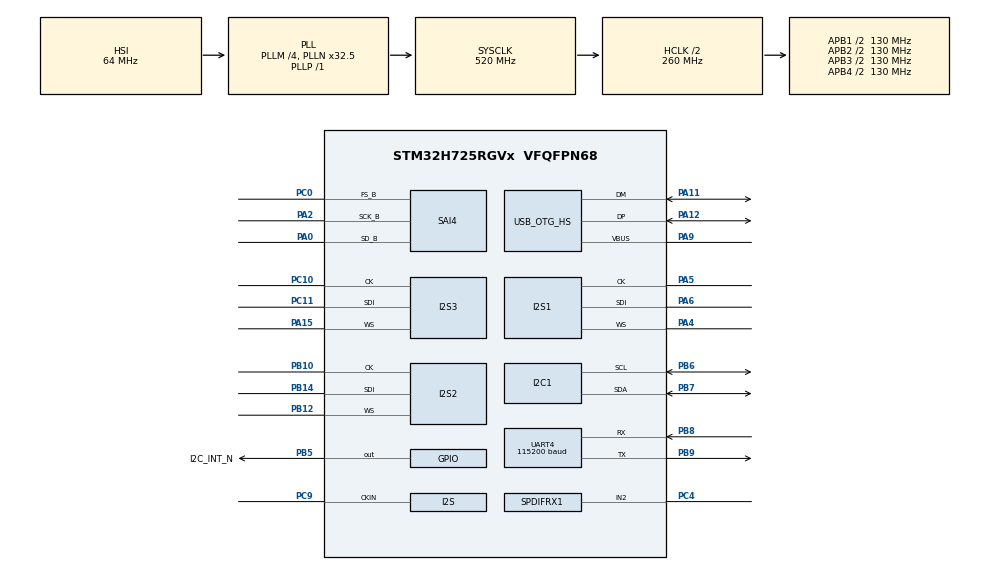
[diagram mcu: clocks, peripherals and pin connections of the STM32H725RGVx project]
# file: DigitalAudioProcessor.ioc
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Bdma.Request0=SAI4_B
Bdma.RequestsNb=1
Bdma.SAI4_B.0.Direction=DMA_MEMORY_TO_PERIPH
Bdma.SAI4_B.0.EventEnable=DISABLE
Bdma.SAI4_B.0.Instance=BDMA_Channel0
Bdma.SAI4_B.0.MemDataAlignment=DMA_MDATAALIGN_WORD
Bdma.SAI4_B.0.MemInc=DMA_MINC_ENABLE
Bdma.SAI4_B.0.Mode=DMA_CIRCULAR
Bdma.SAI4_B.0.PeriphDataAlignment=DMA_PDATAALIGN_WORD
Bdma.SAI4_B.0.PeriphInc=DMA_PINC_DISABLE
Bdma.SAI4_B.0.Polarity=HAL_DMAMUX_REQ_GEN_RISING
Bdma.SAI4_B.0.Priority=DMA_PRIORITY_MEDIUM
Bdma.SAI4_B.0.RequestNumber=1
Bdma.SAI4_B.0.SignalID=NONE
Bdma.SAI4_B.0.SyncEnable=DISABLE
Bdma.SAI4_B.0.SyncPolarity=HAL_DMAMUX_SYNC_NO_EVENT
Bdma.SAI4_B.0.SyncRequestNumber=1
Bdma.SAI4_B.0.SyncSignalID=NONE
CORTEX_M7.AccessPermission-Cortex_Memory_Protection_Unit_Region0_Settings=MPU_REGION_FULL_ACCESS
CORTEX_M7.AccessPermission-Cortex_Memory_Protection_Unit_Region1_Settings=MPU_REGION_FULL_ACCESS
CORTEX_M7.AccessPermission-Cortex_Memory_Protection_Unit_Region2_Settings=MPU_REGION_PRIV_RO_URO
CORTEX_M7.AccessPermission-Cortex_Memory_Protection_Unit_Region4_Settings=MPU_REGION_FULL_ACCESS
CORTEX_M7.AccessPermission_S-Cortex_Memory_Protection_Unit_Region1_Settings_S=MPU_REGION_FULL_ACCESS
CORTEX_M7.AccessPermission_S-Cortex_Memory_Protection_Unit_Region2_Settings_S=MPU_REGION_PRIV_RO_URO
CORTEX_M7.AccessPermission_Spec=MPU_REGION_FULL_ACCESS
CORTEX_M7.BaseAddress-Cortex_Memory_Protection_Unit_Region2_Settings=0x0
CORTEX_M7.BaseAddress-Cortex_Memory_Protection_Unit_Region3_Settings=0x0
CORTEX_M7.BaseAddress-Cortex_Memory_Protection_Unit_Region4_Settings=0x40000000
CORTEX_M7.CPU_DCache=Disabled
CORTEX_M7.CPU_ICache=Enabled
CORTEX_M7.DisableExec-Cortex_Memory_Protection_Unit_Region2_Settings=MPU_INSTRUCTION_ACCESS_ENABLE
CORTEX_M7.DisableExec-Cortex_Memory_Protection_Unit_Region3_Settings=MPU_INSTRUCTION_ACCESS_DISABLE
CORTEX_M7.DisableExec-Cortex_Memory_Protection_Unit_Region4_Settings=MPU_INSTRUCTION_ACCESS_DISABLE
CORTEX_M7.DisableExec_S-Cortex_Memory_Protection_Unit_Region3_Settings_S=MPU_INSTRUCTION_ACCESS_DISABLE
CORTEX_M7.DisableExec_Spec=MPU_INSTRUCTION_ACCESS_ENABLE
CORTEX_M7.Enable-Cortex_Memory_Protection_Unit_Region0_Settings=MPU_REGION_ENABLE
CORTEX_M7.Enable-Cortex_Memory_Protection_Unit_Region1_Settings=MPU_REGION_ENABLE
CORTEX_M7.Enable-Cortex_Memory_Protection_Unit_Region2_Settings=MPU_REGION_ENABLE
CORTEX_M7.Enable-Cortex_Memory_Protection_Unit_Region3_Settings=MPU_REGION_ENABLE
CORTEX_M7.Enable-Cortex_Memory_Protection_Unit_Region4_Settings=MPU_REGION_ENABLE
CORTEX_M7.Enable_S-Cortex_Memory_Protection_Unit_Region1_Settings_S=MPU_REGION_ENABLE
CORTEX_M7.Enable_S-Cortex_Memory_Protection_Unit_Region2_Settings_S=MPU_REGION_ENABLE
CORTEX_M7.Enable_S-Cortex_Memory_Protection_Unit_Region3_Settings_S=MPU_REGION_ENABLE
CORTEX_M7.IsCacheable-Cortex_Memory_Protection_Unit_Region1_Settings=MPU_ACCESS_CACHEABLE
CORTEX_M7.IsCacheable-Cortex_Memory_Protection_Unit_Region2_Settings=MPU_ACCESS_CACHEABLE
CORTEX_M7.IsCacheable_S-Cortex_Memory_Protection_Unit_Region1_Settings_S=MPU_ACCESS_CACHEABLE
CORTEX_M7.IsCacheable_S-Cortex_Memory_Protection_Unit_Region2_Settings_S=MPU_ACCESS_CACHEABLE
CORTEX_M7.IsShareable_Spec=MPU_ACCESS_NOT_SHAREABLE
CORTEX_M7.MPU_Control=MPU_PRIVILEGED_DEFAULT
CORTEX_M7.Size-Cortex_Memory_Protection_Unit_Region0_Settings=MPU_REGION_SIZE_4GB
CORTEX_M7.Size-Cortex_Memory_Protection_Unit_Region1_Settings=MPU_REGION_SIZE_512MB
CORTEX_M7.Size-Cortex_Memory_Protection_Unit_Region2_Settings=MPU_REGION_SIZE_64KB
CORTEX_M7.Size-Cortex_Memory_Protection_Unit_Region3_Settings=MPU_REGION_SIZE_4KB
CORTEX_M7.Size-Cortex_Memory_Protection_Unit_Region4_Settings=MPU_REGION_SIZE_512MB
CORTEX_M7.Size_S-Cortex_Memory_Protection_Unit_Region1_Settings_S=MPU_REGION_SIZE_512MB
CORTEX_M7.Size_S-Cortex_Memory_Protection_Unit_Region2_Settings_S=MPU_REGION_SIZE_64KB
CORTEX_M7.Size_S-Cortex_Memory_Protection_Unit_Region3_Settings_S=MPU_REGION_SIZE_4KB
CORTEX_M7.SubRegionDisable_Spec=0x0
CORTEX_M7.TypeExtField-Cortex_Memory_Protection_Unit_Region0_Settings=MPU_TEX_LEVEL1
CORTEX_M7.TypeExtField-Cortex_Memory_Protection_Unit_Region2_Settings=MPU_TEX_LEVEL0
CORTEX_M7.TypeExtField-Cortex_Memory_Protection_Unit_Region4_Settings=MPU_TEX_LEVEL2
CORTEX_M7.TypeExtField_Spec=MPU_TEX_LEVEL1
CORTEX_M7.default_mode_Activation=0
Dma.Request0=SPI1_RX
Dma.Request1=SPI2_RX
Dma.Request2=SPI3_RX
Dma.Request3=SPDIF_RX_CS
Dma.Request4=SPDIF_RX_DT
Dma.SPDIF_RX_CS.3.Direction=DMA_PERIPH_TO_MEMORY
Dma.SPDIF_RX_CS.3.EventEnable=DISABLE
Dma.SPDIF_RX_CS.3.FIFOMode=DMA_FIFOMODE_DISABLE
Dma.SPDIF_RX_CS.3.Instance=DMA1_Stream3
Dma.SPDIF_RX_CS.3.MemDataAlignment=DMA_MDATAALIGN_WORD
Dma.SPDIF_RX_CS.3.MemInc=DMA_MINC_ENABLE
Dma.SPDIF_RX_CS.3.Mode=DMA_CIRCULAR
Dma.SPDIF_RX_CS.3.PeriphDataAlignment=DMA_PDATAALIGN_WORD
Dma.SPDIF_RX_CS.3.PeriphInc=DMA_PINC_DISABLE
Dma.SPDIF_RX_CS.3.Polarity=HAL_DMAMUX_REQ_GEN_RISING
Dma.SPDIF_RX_CS.3.Priority=DMA_PRIORITY_LOW
Dma.SPDIF_RX_CS.3.RequestNumber=1
Dma.SPDIF_RX_CS.3.SignalID=NONE
Dma.SPDIF_RX_CS.3.SyncEnable=DISABLE
Dma.SPDIF_RX_CS.3.SyncPolarity=HAL_DMAMUX_SYNC_NO_EVENT
Dma.SPDIF_RX_CS.3.SyncRequestNumber=1
Dma.SPDIF_RX_CS.3.SyncSignalID=NONE
Dma.SPDIF_RX_DT.4.Direction=DMA_PERIPH_TO_MEMORY
Dma.SPDIF_RX_DT.4.EventEnable=DISABLE
Dma.SPDIF_RX_DT.4.FIFOMode=DMA_FIFOMODE_DISABLE
Dma.SPDIF_RX_DT.4.Instance=DMA1_Stream4
Dma.SPDIF_RX_DT.4.MemDataAlignment=DMA_MDATAALIGN_WORD
Dma.SPDIF_RX_DT.4.MemInc=DMA_MINC_ENABLE
Dma.SPDIF_RX_DT.4.Mode=DMA_CIRCULAR
Dma.SPDIF_RX_DT.4.PeriphDataAlignment=DMA_PDATAALIGN_WORD
Dma.SPDIF_RX_DT.4.PeriphInc=DMA_PINC_DISABLE
Dma.SPDIF_RX_DT.4.Polarity=HAL_DMAMUX_REQ_GEN_RISING
Dma.SPDIF_RX_DT.4.Priority=DMA_PRIORITY_LOW
Dma.SPDIF_RX_DT.4.RequestNumber=1
Dma.SPDIF_RX_DT.4.SignalID=NONE
Dma.SPDIF_RX_DT.4.SyncEnable=DISABLE
Dma.SPDIF_RX_DT.4.SyncPolarity=HAL_DMAMUX_SYNC_NO_EVENT
Dma.SPDIF_RX_DT.4.SyncRequestNumber=1
Dma.SPDIF_RX_DT.4.SyncSignalID=NONE
Dma.SPI1_RX.0.Direction=DMA_PERIPH_TO_MEMORY
Dma.SPI1_RX.0.EventEnable=DISABLE
Dma.SPI1_RX.0.FIFOMode=DMA_FIFOMODE_DISABLE
Dma.SPI1_RX.0.Instance=DMA1_Stream0
Dma.SPI1_RX.0.MemDataAlignment=DMA_MDATAALIGN_WORD
Dma.SPI1_RX.0.MemInc=DMA_MINC_ENABLE
Dma.SPI1_RX.0.Mode=DMA_CIRCULAR
Dma.SPI1_RX.0.PeriphDataAlignment=DMA_PDATAALIGN_WORD
Dma.SPI1_RX.0.PeriphInc=DMA_PINC_DISABLE
Dma.SPI1_RX.0.Polarity=HAL_DMAMUX_REQ_GEN_RISING
Dma.SPI1_RX.0.Priority=DMA_PRIORITY_LOW
Dma.SPI1_RX.0.RequestNumber=1
Dma.SPI1_RX.0.SignalID=NONE
Dma.SPI1_RX.0.SyncEnable=DISABLE
Dma.SPI1_RX.0.SyncPolarity=HAL_DMAMUX_SYNC_NO_EVENT
Dma.SPI1_RX.0.SyncRequestNumber=1
Dma.SPI1_RX.0.SyncSignalID=NONE
Dma.SPI2_RX.1.Direction=DMA_PERIPH_TO_MEMORY
Dma.SPI2_RX.1.EventEnable=DISABLE
Dma.SPI2_RX.1.FIFOMode=DMA_FIFOMODE_DISABLE
Dma.SPI2_RX.1.Instance=DMA1_Stream1
Dma.SPI2_RX.1.MemDataAlignment=DMA_MDATAALIGN_WORD
Dma.SPI2_RX.1.MemInc=DMA_MINC_ENABLE
Dma.SPI2_RX.1.Mode=DMA_CIRCULAR
Dma.SPI2_RX.1.PeriphDataAlignment=DMA_PDATAALIGN_WORD
Dma.SPI2_RX.1.PeriphInc=DMA_PINC_DISABLE
Dma.SPI2_RX.1.Polarity=HAL_DMAMUX_REQ_GEN_RISING
Dma.SPI2_RX.1.Priority=DMA_PRIORITY_LOW
Dma.SPI2_RX.1.RequestNumber=1
Dma.SPI2_RX.1.SignalID=NONE
Dma.SPI2_RX.1.SyncEnable=DISABLE
Dma.SPI2_RX.1.SyncPolarity=HAL_DMAMUX_SYNC_NO_EVENT
Dma.SPI2_RX.1.SyncRequestNumber=1
Dma.SPI2_RX.1.SyncSignalID=NONE
Dma.SPI3_RX.2.Direction=DMA_PERIPH_TO_MEMORY
Dma.SPI3_RX.2.EventEnable=DISABLE
Dma.SPI3_RX.2.FIFOMode=DMA_FIFOMODE_DISABLE
Dma.SPI3_RX.2.Instance=DMA1_Stream2
Dma.SPI3_RX.2.MemDataAlignment=DMA_MDATAALIGN_WORD
Dma.SPI3_RX.2.MemInc=DMA_MINC_ENABLE
Dma.SPI3_RX.2.Mode=DMA_CIRCULAR
Dma.SPI3_RX.2.PeriphDataAlignment=DMA_PDATAALIGN_WORD
Dma.SPI3_RX.2.PeriphInc=DMA_PINC_DISABLE
Dma.SPI3_RX.2.Polarity=HAL_DMAMUX_REQ_GEN_RISING
Dma.SPI3_RX.2.Priority=DMA_PRIORITY_LOW
Dma.SPI3_RX.2.RequestNumber=1
Dma.SPI3_RX.2.SignalID=NONE
Dma.SPI3_RX.2.SyncEnable=DISABLE
Dma.SPI3_RX.2.SyncPolarity=HAL_DMAMUX_SYNC_NO_EVENT
Dma.SPI3_RX.2.SyncRequestNumber=1
Dma.SPI3_RX.2.SyncSignalID=NONE
I2C1.OwnAddress=0x4A
I2C1.Timing=0x0020212A
I2S1.AudioFreq=I2S_AUDIOFREQ_96K
I2S1.Data24BitAlignment=I2S_DATA_24BIT_ALIGNMENT_LEFT
I2S1.DataFormat=I2S_DATAFORMAT_32B
I2S1.ErrorAudioFreq=0.0 %
I2S1.Instance=SPI$Index
I2S1.RealAudioFreq=96.0 KHz
I2S2.AudioFreq=I2S_AUDIOFREQ_96K
I2S2.Data24BitAlignment=I2S_DATA_24BIT_ALIGNMENT_LEFT
I2S2.DataFormat=I2S_DATAFORMAT_32B
I2S2.ErrorAudioFreq=0.0 %
I2S2.Instance=SPI$Index
I2S2.RealAudioFreq=96.0 KHz
I2S3.AudioFreq=I2S_AUDIOFREQ_96K
I2S3.Data24BitAlignment=I2S_DATA_24BIT_ALIGNMENT_LEFT
I2S3.DataFormat=I2S_DATAFORMAT_32B
I2S3.ErrorAudioFreq=0.0 %
I2S3.Instance=SPI$Index
I2S3.RealAudioFreq=96.0 KHz
Mcu.Family=STM32H7
Mcu.Name=STM32H725RGVx
Mcu.Package=VFQFPN68
Mdma.MDMA_Channel0.Request0=SW
Mdma.MDMA_Channel0.RequestsNb=1
Mdma.MDMA_Channel0.SW.0.BlockCount=0
Mdma.MDMA_Channel0.SW.0.BlockDataLength=0
Mdma.MDMA_Channel0.SW.0.BufferTransferLength=4
Mdma.MDMA_Channel0.SW.0.CircularMode=MDMA_LINEAR_LIST
Mdma.MDMA_Channel0.SW.0.DataAlignment=MDMA_DATAALIGN_PACKENABLE
Mdma.MDMA_Channel0.SW.0.DestBlockAddressOffset=0
Mdma.MDMA_Channel0.SW.0.DestBurst=MDMA_DEST_BURST_SINGLE
Mdma.MDMA_Channel0.SW.0.DestDataSize=MDMA_DEST_DATASIZE_WORD
Mdma.MDMA_Channel0.SW.0.DestinationInc=MDMA_DEST_INC_WORD
Mdma.MDMA_Channel0.SW.0.DstAddress=0
Mdma.MDMA_Channel0.SW.0.Endianness=MDMA_LITTLE_ENDIANNESS_PRESERVE
Mdma.MDMA_Channel0.SW.0.Instance=MDMA_Channel0
Mdma.MDMA_Channel0.SW.0.MaskAddress=0
Mdma.MDMA_Channel0.SW.0.MaskData=0
Mdma.MDMA_Channel0.SW.0.Priority=MDMA_PRIORITY_LOW
Mdma.MDMA_Channel0.SW.0.Rank=First
Mdma.MDMA_Channel0.SW.0.SourceBlockAddressOffset=0
Mdma.MDMA_Channel0.SW.0.SourceBurst=MDMA_SOURCE_BURST_SINGLE
Mdma.MDMA_Channel0.SW.0.SourceDataSize=MDMA_SRC_DATASIZE_WORD
Mdma.MDMA_Channel0.SW.0.SourceInc=MDMA_SRC_INC_WORD
Mdma.MDMA_Channel0.SW.0.SrcAddress=0
Mdma.MDMA_Channel0.SW.0.TransferTriggerMode=MDMA_BLOCK_TRANSFER
Mdma.RequestSet0=MDMA_Channel0
Mdma.RequestSetsNb=1
NVIC.BDMA_Channel0_IRQn=true\:2\:0\:true\:false\:true\:false\:true\:true
NVIC.DMA1_Stream0_IRQn=true\:4\:0\:true\:false\:true\:false\:true\:true
NVIC.DMA1_Stream1_IRQn=true\:4\:0\:true\:false\:true\:false\:true\:true
NVIC.DMA1_Stream2_IRQn=true\:4\:0\:true\:false\:true\:false\:true\:true
NVIC.DMA1_Stream3_IRQn=true\:4\:0\:true\:false\:true\:false\:true\:true
NVIC.DMA1_Stream4_IRQn=true\:4\:0\:true\:false\:true\:false\:true\:true
NVIC.I2C1_ER_IRQn=true\:1\:0\:true\:false\:true\:true\:true\:true
NVIC.I2C1_EV_IRQn=true\:1\:0\:true\:false\:true\:true\:true\:true
NVIC.MDMA_IRQn=true\:3\:0\:true\:false\:true\:false\:true\:true
NVIC.OTG_HS_IRQn=true\:0\:0\:true\:false\:true\:false\:true\:true
NVIC.PriorityGroup=NVIC_PRIORITYGROUP_4
NVIC.SPDIF_RX_IRQn=true\:5\:0\:true\:false\:true\:true\:true\:true
NVIC.UART4_IRQn=true\:14\:0\:true\:false\:true\:true\:true\:true
PA0.GPIO_Speed=GPIO_SPEED_FREQ_HIGH
PA0.Mode=SAI_B_Master
PA0.Signal=SAI4_SD_B
PA11.Mode=Device_Only_FS
PA11.Signal=USB_OTG_HS_DM
PA12.Mode=Device_Only_FS
PA12.Signal=USB_OTG_HS_DP
PA13(JTMS/SWDIO).Mode=Serial_Wire
PA13(JTMS/SWDIO).Signal=DEBUG_JTMS-SWDIO
PA14(JTCK/SWCLK).Mode=Serial_Wire
PA14(JTCK/SWCLK).Signal=DEBUG_JTCK-SWCLK
PA15(JTDI).Mode=Half_Duplex_Slave_Rx
PA15(JTDI).Signal=I2S3_WS
PA2.GPIO_Speed=GPIO_SPEED_FREQ_HIGH
PA2.Mode=SAI_B_Master
PA2.Signal=SAI4_SCK_B
PA4.Mode=Half_Duplex_Slave_Rx
PA4.Signal=I2S1_WS
PA5.Mode=Half_Duplex_Slave_Rx
PA5.Signal=I2S1_CK
PA6.Mode=Half_Duplex_Slave_Rx
PA6.Signal=I2S1_SDI
PA9.GPIO_PuPd=GPIO_PULLDOWN
PA9.Mode=Activate_VBUS_FS
PA9.Signal=USB_OTG_HS_VBUS
PB10.Mode=Half_Duplex_Slave_Rx
PB10.Signal=I2S2_CK
PB12.Mode=Half_Duplex_Slave_Rx
PB12.Signal=I2S2_WS
PB14.Mode=Half_Duplex_Slave_Rx
PB14.Signal=I2S2_SDI
PB5.GPIO_Label=I2C_INT_N
PB5.GPIO_ModeDefaultOutputPP=GPIO_MODE_OUTPUT_OD
PB5.GPIO_PuPd=GPIO_NOPULL
PB5.GPIO_Speed=GPIO_SPEED_FREQ_LOW
PB5.PinState=GPIO_PIN_SET
PB5.Signal=GPIO_Output
PB6.GPIO_Pu=GPIO_PULLUP
PB6.Mode=I2C
PB6.Signal=I2C1_SCL
PB7.GPIO_Pu=GPIO_PULLUP
PB7.Mode=I2C
PB7.Signal=I2C1_SDA
PB8.Mode=Asynchronous
PB8.Signal=UART4_RX
PB9.Mode=Asynchronous
PB9.Signal=UART4_TX
PC0.GPIO_Speed=GPIO_SPEED_FREQ_HIGH
PC0.Mode=SAI_B_Master
PC0.Signal=SAI4_FS_B
PC10.Mode=Half_Duplex_Slave_Rx
PC10.Signal=I2S3_CK
PC11.Mode=Half_Duplex_Slave_Rx
PC11.Signal=I2S3_SDI
PC4.Mode=IN2
PC4.Signal=SPDIFRX1_IN2
PC9.Mode=Audio_ClockIn
PC9.Signal=I2S_CKIN
ProjectManager.HeapSize=0x2000
ProjectManager.StackSize=0x2000
ProjectManager.TargetToolchain=STM32CubeIDE
RAMECC.Instance-RAMECC1_Monitor1=RAMECC1_Monitor1
RAMECC.Instance-RAMECC1_Monitor2=RAMECC1_Monitor2
RAMECC.Instance-RAMECC1_Monitor3=RAMECC1_Monitor3
RAMECC.Instance-RAMECC1_Monitor4=RAMECC1_Monitor4
RAMECC.Instance-RAMECC1_Monitor6=RAMECC1_Monitor6
RAMECC.Instance-RAMECC2_Monitor1=RAMECC2_Monitor1
RAMECC.Instance-RAMECC2_Monitor2_1=RAMECC2_Monitor2
RAMECC.Instance-RAMECC3_Monitor1=RAMECC3_Monitor1
RCC.ADCFreq_Value=240000000
RCC.APB1Freq_Value=130000000
RCC.APB2Freq_Value=130000000
RCC.APB3Freq_Value=130000000
RCC.APB4Freq_Value=130000000
RCC.CortexFreq_Value=520000000
RCC.D1PPRE=RCC_APB3_DIV2
RCC.D2PPRE1=RCC_APB1_DIV2
RCC.D2PPRE2=RCC_APB2_DIV2
RCC.D3PPRE=RCC_APB4_DIV2
RCC.DIVM1=4
RCC.DIVM2=4
RCC.DIVM3=25
RCC.DIVN1=32
RCC.DIVN2=30
RCC.DIVN3=96
RCC.DIVP1=1
RCC.DIVP3=10
RCC.DIVR3=30
RCC.EXTERNAL_CLOCK_VALUE=24576000
RCC.HCLKFreq_Value=260000000
RCC.HPRE=RCC_HCLK_DIV2
RCC.I2C123CLockSelection=RCC_I2C1235CLKSOURCE_PLL3
RCC.PLL2FRACN=0
RCC.PLL3FRACN=0
RCC.PLLFRACN=4096
RCC.RCC_MCO2Source=RCC_MCO2SOURCE_LSICLK
RCC.SAI4BCLockSelection=RCC_SAI4BCLKSOURCE_PIN
RCC.SPDIFCLockSelection=RCC_SPDIFRXCLKSOURCE_PLL2
RCC.SPI123CLockSelection=RCC_SPI123CLKSOURCE_PLL3
RCC.SYSCLKFreq_VALUE=520000000
RCC.SYSCLKSource=RCC_SYSCLKSOURCE_PLLCLK
RCC.USBCLockSelection=RCC_USBCLKSOURCE_HSI48
RCC.USBFreq_Value=48000000
SAI4.AudioFrequency-SAI_B_Master=SAI_AUDIO_FREQUENCY_96K
SAI4.BasicDataSize-SAI_B_Master=SAI_PROTOCOL_DATASIZE_32BIT
SAI4.ErrorAudioFreq-SAI_B_Master=0.0 %
SAI4.InitProtocol-SAI_B_Master=Enable
SAI4.Instance-SAI_B_Master=SAI$Index_Block_B
SAI4.MckOutput=SAI_MCK_OUTPUT_DISABLE
SAI4.NoDivider-SAI_B_Master=SAI_MASTERDIVIDER_ENABLE
SAI4.OutputDrive-SAI_B_Master=SAI_OUTPUTDRIVE_ENABLE
SAI4.RealAudioFreq-SAI_B_Master=96.0 KHz
SAI4.VirtualMode-SAI_B_Master=VM_MASTER
SAI4.VirtualProtocol-SAI_B_BASIC=VM_BASIC_PROTOCOL
SPDIFRX1.ChannelStatusMask=SPDIFRX_CHANNELSTATUS_OFF
SPDIFRX1.DataFormat=SPDIFRX_DATAFORMAT_MSB
SPDIFRX1.PreambleTypeMask=SPDIFRX_PREAMBLETYPEMASK_OFF
SPDIFRX1.Retries=SPDIFRX_MAXRETRIES_3
SPDIFRX1.StereoMode=SPDIFRX_STEREOMODE_ENABLE
SPDIFRX1.ValidityBitMask=SPDIFRX_VALIDITYMASK_OFF
SPDIFRX1.WaitForActivity=SPDIFRX_WAITFORACTIVITY_ON
TIM2.Prescaler=25
TIM5.Prescaler=25
UART4.BaudRate=115200
USB_DEVICE.CLASS_NAME_HS=AUDIO
USB_DEVICE.USBD_AUDIO_FREQ=48000
USB_DEVICE.USBD_DEBUG_LEVEL=3
USB_DEVICE.VirtualMode=Audio
USB_DEVICE.VirtualModeHS=Audio_HS
USB_OTG_HS.VirtualMode=Device_Only_FS
VP_RAMECC_VS_D1_1.Mode=RAMECC1_Monitor1
VP_RAMECC_VS_D1_2.Mode=RAMECC1_Monitor2
VP_RAMECC_VS_D1_3.Mode=RAMECC1_Monitor3
VP_RAMECC_VS_D1_4.Mode=RAMECC1_Monitor4
VP_RAMECC_VS_D1_6.Mode=RAMECC1_Monitor6
VP_RAMECC_VS_D2_1.Mode=RAMECC2_Monitor1
VP_RAMECC_VS_D2_2.Mode=RAMECC2_Monitor2_1
VP_RAMECC_VS_D3_1.Mode=RAMECC3_Monitor1
VP_SAI4_VP_$IpInstance_SAIB_SAI_BASIC.Mode=SAI_B_BASIC
VP_TIM2_VS_ClockSourceINT.Mode=Internal
VP_TIM5_VS_ClockSourceINT.Mode=Internal
VP_USB_DEVICE_VS_USB_DEVICE_AUDIO_HS.Mode=AUDIO_HS
VP_WWDG1_VS_WWDG.Mode=WWDG_Activate
WWDG1.Counter=127
WWDG1.Prescaler=WWDG_PRESCALER_128
WWDG1.Window=127
board=custom

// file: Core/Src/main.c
/* USER CODE BEGIN Header */
/**
  ******************************************************************************
  * @file           : main.c
  * @brief          : Main program body
  ******************************************************************************
  * @attention
  *
  * Copyright (c) 2024 STMicroelectronics.
  * All rights reserved.
  *
  * This software is licensed under terms that can be found in the LICENSE file
  * in the root directory of this software component.
  * If no LICENSE file comes with this software, it is provided AS-IS.
  *
  ******************************************************************************
  */
/* USER CODE END Header */
#include "main.h"
#include "usb_device.h"

/* USER CODE BEGIN Includes */
#include "retarget.h"
#include "sample_rate_conv.h"
#include "signal_processing.h"
#include "sai_out.h"
#include "inputs.h"
#include "i2c.h"
/* USER CODE END Includes */

I2C_HandleTypeDef hi2c1;

I2S_HandleTypeDef hi2s1;
I2S_HandleTypeDef hi2s2;
I2S_HandleTypeDef hi2s3;
DMA_HandleTypeDef hdma_spi1_rx;
DMA_HandleTypeDef hdma_spi2_rx;
DMA_HandleTypeDef hdma_spi3_rx;

RAMECC_HandleTypeDef hramecc1_m1;
RAMECC_HandleTypeDef hramecc1_m2;
RAMECC_HandleTypeDef hramecc1_m3;
RAMECC_HandleTypeDef hramecc1_m4;
RAMECC_HandleTypeDef hramecc1_m6;
RAMECC_HandleTypeDef hramecc2_m1;
RAMECC_HandleTypeDef hramecc2_m2;
RAMECC_HandleTypeDef hramecc3_m1;

SAI_HandleTypeDef hsai_BlockB4;
DMA_HandleTypeDef hdma_sai4_b;

SPDIFRX_HandleTypeDef hspdif1;
DMA_HandleTypeDef hdma_spdif_rx_cs;
DMA_HandleTypeDef hdma_spdif_rx_dt;

TIM_HandleTypeDef htim2;
TIM_HandleTypeDef htim5;

UART_HandleTypeDef huart4;

WWDG_HandleTypeDef hwwdg1;

MDMA_HandleTypeDef hmdma_mdma_channel0_sw_0;

void SystemClock_Config(void);
void PeriphCommonClock_Config(void);
static void MPU_Config(void);
static void MX_GPIO_Init(void);
static void MX_BDMA_Init(void);
static void MX_DMA_Init(void);
static void MX_MDMA_Init(void);
static void MX_I2S2_Init(void);
static void MX_I2S3_Init(void);
static void MX_SAI4_Init(void);
static void MX_SPDIFRX1_Init(void);
static void MX_I2C1_Init(void);
static void MX_UART4_Init(void);
static void MX_I2S1_Init(void);
static void MX_RAMECC_Init(void);
static void MX_TIM2_Init(void);
static void MX_TIM5_Init(void);
static void MX_WWDG1_Init(void);

/* USER CODE BEGIN 0 */
static __always_inline void _RefreshWatchdogs() {
  //HAL_IWDG_Refresh(&hiwdg1);
  HAL_WWDG_Refresh(&hwwdg1);
}
/* USER CODE END 0 */

int main(void)
{
  /* USER CODE BEGIN 1 */
  /*CoreDebug->DEMCR |= CoreDebug_DEMCR_TRCENA_Msk;
  DWT->LAR = 0xC5ACCE55;
  DWT->CYCCNT = 0;
  DWT->CTRL |= (DWT_CTRL_CYCCNTENA_Msk | DWT_CTRL_EXCTRCENA_Msk | DWT_CTRL_CPIEVTENA_Msk |
      DWT_CTRL_EXCEVTENA_Msk | DWT_CTRL_LSUEVTENA_Msk | DWT_CTRL_FOLDEVTENA_Msk);*/
  /* USER CODE END 1 */

  /* MPU Configuration--------------------------------------------------------*/
  MPU_Config();

  /* Enable I-Cache---------------------------------------------------------*/
  SCB_EnableICache();

  /* MCU Configuration--------------------------------------------------------*/

  /* Reset of all peripherals, Initializes the Flash interface and the Systick. */
  HAL_Init();

  /* Configure the system clock */
  SystemClock_Config();

/* Configure the peripherals common clocks */
  PeriphCommonClock_Config();

  /* Initialize all configured peripherals */
  MX_GPIO_Init();
  MX_BDMA_Init();
  MX_DMA_Init();
  MX_MDMA_Init();
  MX_I2S2_Init();
  MX_I2S3_Init();
  MX_SAI4_Init();
  MX_SPDIFRX1_Init();
  MX_I2C1_Init();
  MX_UART4_Init();
  MX_USB_DEVICE_Init();
  MX_I2S1_Init();
  MX_RAMECC_Init();
  MX_TIM2_Init();
  MX_TIM5_Init();
  MX_WWDG1_Init();
  /* USER CODE BEGIN 2 */

  RetargetInit(&huart4);
  DEBUG_PRINTF("Controller started\n");

  _RefreshWatchdogs();

  //init SRC before USB to receive samples right away
  if (SRC_Init() == HAL_OK) {
    DEBUG_PRINTF("SRC initialised\n");
  } else {
    DEBUG_PRINTF("*** SRC init failed!\n");
    HAL_Delay(100);
    Error_Handler();
  }

  if (SRC_Configure(SR_96K) == HAL_OK) {
    DEBUG_PRINTF("SRC configured for 96K\n");
  } else {
    DEBUG_PRINTF("*** SRC config failed!\n");
    HAL_Delay(100);
    Error_Handler();
  }

  _RefreshWatchdogs();

  if (SP_Init() == HAL_OK) {
    DEBUG_PRINTF("SP initialised\n");
  } else {
    DEBUG_PRINTF("*** SP init failed!\n");
    HAL_Delay(100);
    Error_Handler();
  }

  if (SAI_OUT_Init() == HAL_OK) {
    DEBUG_PRINTF("SAI initialised\n");
  } else {
    DEBUG_PRINTF("*** SAI init failed!\n");
    HAL_Delay(100);
    Error_Handler();
  }

  _RefreshWatchdogs();

  if (INPUT_Init() == HAL_OK) {
    DEBUG_PRINTF("Inputs initialised\n");
  } else {
    DEBUG_PRINTF("*** Input init failed!\n");
    HAL_Delay(100);
    Error_Handler();
  }

  if (I2C_Init() == HAL_OK) {
    DEBUG_PRINTF("I2C initialised\n");
  } else {
    DEBUG_PRINTF("*** I2C init failed!\n");
    HAL_Delay(100);
    Error_Handler();
  }

  _RefreshWatchdogs();

#ifdef DEBUG
  //initialise cycle counter and let it run, for tracking idle cycles
  /*CoreDebug->DEMCR |= CoreDebug_DEMCR_TRCENA_Msk;
  DWT->LAR = 0xC5ACCE55;
  DWT->CYCCNT = 0;
  DWT->CTRL |= DWT_CTRL_CYCCNTENA_Msk;

  uint32_t idle_cycles = 0;
  float avg_idle_cycles = 0.0f;*/
#endif

  /* USER CODE END 2 */

  /* Infinite loop */
  /* USER CODE BEGIN WHILE */
  //loop iteration counter - even if extremely unlikely wrap-around happens, it shouldn't be critical
  uint32_t loop_count = 0;
  while (1)
  {
    uint32_t iteration_start_tick = HAL_GetTick();
    /* USER CODE END WHILE */

    /* USER CODE BEGIN 3 */
#ifdef DEBUG
    /*avg_idle_cycles = 0.125f * (float)idle_cycles + 0.875f * avg_idle_cycles;
    idle_cycles = 0;*/

    //SRC debug printouts
    /*if (loop_count % 200 == 0) {
      extern float* const src_debug_adaptive_decimation_ptr;
      DEBUG_PRINTF("Adaptive decm factor: %.4f  rate err: %.5f  buffer err: %.1f\n", *src_debug_adaptive_decimation_ptr, SRC_GetAverageRateError(), SRC_GetAverageBufferFillError());
      extern float _spdif_sample_rate_approx;
      DEBUG_PRINTF("SPDIF in rate: %.1f\n", _spdif_sample_rate_approx);
    }*/
#endif

    /*if (loop_count % 50 == 0) {
      DEBUG_PRINTF("USB VBUS: %u\n", HAL_GPIO_ReadPin(GPIOA, GPIO_PIN_9));
    }*/

    INPUT_LoopUpdate();
    I2C_LoopUpdate();

    loop_count++;
    _RefreshWatchdogs();
    while((HAL_GetTick() - iteration_start_tick) < MAIN_LOOP_PERIOD_MS) { //replaces HAL_Delay() to not wait any unnecessary extra ticks
#ifdef DEBUG

#endif
    }
  }
  /* USER CODE END 3 */
}

void SystemClock_Config(void)
{
  RCC_OscInitTypeDef RCC_OscInitStruct = {0};
  RCC_ClkInitTypeDef RCC_ClkInitStruct = {0};

  /** Supply configuration update enable
  */
  HAL_PWREx_ConfigSupply(PWR_DIRECT_SMPS_SUPPLY);

  /** Configure the main internal regulator output voltage
  */
  __HAL_PWR_VOLTAGESCALING_CONFIG(PWR_REGULATOR_VOLTAGE_SCALE0);

  while(!__HAL_PWR_GET_FLAG(PWR_FLAG_VOSRDY)) {}

  /** Initializes the RCC Oscillators according to the specified parameters
  * in the RCC_OscInitTypeDef structure.
  */
  RCC_OscInitStruct.OscillatorType = RCC_OSCILLATORTYPE_HSI48|RCC_OSCILLATORTYPE_HSI;
  RCC_OscInitStruct.HSIState = RCC_HSI_DIV1;
  RCC_OscInitStruct.HSICalibrationValue = 64;
  RCC_OscInitStruct.HSI48State = RCC_HSI48_ON;
  RCC_OscInitStruct.PLL.PLLState = RCC_PLL_ON;
  RCC_OscInitStruct.PLL.PLLSource = RCC_PLLSOURCE_HSI;
  RCC_OscInitStruct.PLL.PLLM = 4;
  RCC_OscInitStruct.PLL.PLLN = 32;
  RCC_OscInitStruct.PLL.PLLP = 1;
  RCC_OscInitStruct.PLL.PLLQ = 2;
  RCC_OscInitStruct.PLL.PLLR = 2;
  RCC_OscInitStruct.PLL.PLLRGE = RCC_PLL1VCIRANGE_3;
  RCC_OscInitStruct.PLL.PLLVCOSEL = RCC_PLL1VCOWIDE;
  RCC_OscInitStruct.PLL.PLLFRACN = 4096;
  if (HAL_RCC_OscConfig(&RCC_OscInitStruct) != HAL_OK)
  {
    Error_Handler();
  }

  /** Initializes the CPU, AHB and APB buses clocks
  */
  RCC_ClkInitStruct.ClockType = RCC_CLOCKTYPE_HCLK|RCC_CLOCKTYPE_SYSCLK
                              |RCC_CLOCKTYPE_PCLK1|RCC_CLOCKTYPE_PCLK2
                              |RCC_CLOCKTYPE_D3PCLK1|RCC_CLOCKTYPE_D1PCLK1;
  RCC_ClkInitStruct.SYSCLKSource = RCC_SYSCLKSOURCE_PLLCLK;
  RCC_ClkInitStruct.SYSCLKDivider = RCC_SYSCLK_DIV1;
  RCC_ClkInitStruct.AHBCLKDivider = RCC_HCLK_DIV2;
  RCC_ClkInitStruct.APB3CLKDivider = RCC_APB3_DIV2;
  RCC_ClkInitStruct.APB1CLKDivider = RCC_APB1_DIV2;
  RCC_ClkInitStruct.APB2CLKDivider = RCC_APB2_DIV2;
  RCC_ClkInitStruct.APB4CLKDivider = RCC_APB4_DIV2;

  if (HAL_RCC_ClockConfig(&RCC_ClkInitStruct, FLASH_LATENCY_3) != HAL_OK)
  {
    Error_Handler();
  }
}

void PeriphCommonClock_Config(void)
{
  RCC_PeriphCLKInitTypeDef PeriphClkInitStruct = {0};

  /** Initializes the peripherals clock
  */
  PeriphClkInitStruct.PeriphClockSelection = RCC_PERIPHCLK_I2C1|RCC_PERIPHCLK_SPI3
                              |RCC_PERIPHCLK_SPI2|RCC_PERIPHCLK_SPI1;
  PeriphClkInitStruct.PLL3.PLL3M = 25;
  PeriphClkInitStruct.PLL3.PLL3N = 96;
  PeriphClkInitStruct.PLL3.PLL3P = 10;
  PeriphClkInitStruct.PLL3.PLL3Q = 2;
  PeriphClkInitStruct.PLL3.PLL3R = 30;
  PeriphClkInitStruct.PLL3.PLL3RGE = RCC_PLL3VCIRANGE_1;
  PeriphClkInitStruct.PLL3.PLL3VCOSEL = RCC_PLL3VCOWIDE;
  PeriphClkInitStruct.PLL3.PLL3FRACN = 0;
  PeriphClkInitStruct.Spi123ClockSelection = RCC_SPI123CLKSOURCE_PLL3;
  PeriphClkInitStruct.I2c123ClockSelection = RCC_I2C1235CLKSOURCE_PLL3;
  if (HAL_RCCEx_PeriphCLKConfig(&PeriphClkInitStruct) != HAL_OK)
  {
    Error_Handler();
  }
}

static void MX_I2C1_Init(void)
{

  hi2c1.Instance = I2C1;
  hi2c1.Init.Timing = 0x0020212A;
  hi2c1.Init.OwnAddress1 = 148;
  hi2c1.Init.AddressingMode = I2C_ADDRESSINGMODE_7BIT;
  hi2c1.Init.DualAddressMode = I2C_DUALADDRESS_DISABLE;
  hi2c1.Init.OwnAddress2 = 0;
  hi2c1.Init.OwnAddress2Masks = I2C_OA2_NOMASK;
  hi2c1.Init.GeneralCallMode = I2C_GENERALCALL_DISABLE;
  hi2c1.Init.NoStretchMode = I2C_NOSTRETCH_DISABLE;
  if (HAL_I2C_Init(&hi2c1) != HAL_OK)
  {
    Error_Handler();
  }

  /** Configure Analogue filter
  */
  if (HAL_I2CEx_ConfigAnalogFilter(&hi2c1, I2C_ANALOGFILTER_ENABLE) != HAL_OK)
  {
    Error_Handler();
  }

  /** Configure Digital filter
  */
  if (HAL_I2CEx_ConfigDigitalFilter(&hi2c1, 0) != HAL_OK)
  {
    Error_Handler();
  }

}

static void MX_I2S1_Init(void)
{

  hi2s1.Instance = SPI1;
  hi2s1.Init.Mode = I2S_MODE_SLAVE_RX;
  hi2s1.Init.Standard = I2S_STANDARD_PHILIPS;
  hi2s1.Init.DataFormat = I2S_DATAFORMAT_32B;
  hi2s1.Init.MCLKOutput = I2S_MCLKOUTPUT_DISABLE;
  hi2s1.Init.AudioFreq = I2S_AUDIOFREQ_96K;
  hi2s1.Init.CPOL = I2S_CPOL_LOW;
  hi2s1.Init.FirstBit = I2S_FIRSTBIT_MSB;
  hi2s1.Init.WSInversion = I2S_WS_INVERSION_DISABLE;
  hi2s1.Init.Data24BitAlignment = I2S_DATA_24BIT_ALIGNMENT_LEFT;
  hi2s1.Init.MasterKeepIOState = I2S_MASTER_KEEP_IO_STATE_DISABLE;
  if (HAL_I2S_Init(&hi2s1) != HAL_OK)
  {
    Error_Handler();
  }
  /* USER CODE BEGIN I2S1_Init 2 */
  //swap SDI/SDO pins to match IOC definition and hardware
  SET_BIT(hi2s1.Instance->CFG2, SPI_CFG2_IOSWP);
  /* USER CODE END I2S1_Init 2 */

}

static void MX_I2S2_Init(void)
{

  hi2s2.Instance = SPI2;
  hi2s2.Init.Mode = I2S_MODE_SLAVE_RX;
  hi2s2.Init.Standard = I2S_STANDARD_PHILIPS;
  hi2s2.Init.DataFormat = I2S_DATAFORMAT_32B;
  hi2s2.Init.MCLKOutput = I2S_MCLKOUTPUT_DISABLE;
  hi2s2.Init.AudioFreq = I2S_AUDIOFREQ_96K;
  hi2s2.Init.CPOL = I2S_CPOL_LOW;
  hi2s2.Init.FirstBit = I2S_FIRSTBIT_MSB;
  hi2s2.Init.WSInversion = I2S_WS_INVERSION_DISABLE;
  hi2s2.Init.Data24BitAlignment = I2S_DATA_24BIT_ALIGNMENT_LEFT;
  hi2s2.Init.MasterKeepIOState = I2S_MASTER_KEEP_IO_STATE_DISABLE;
  if (HAL_I2S_Init(&hi2s2) != HAL_OK)
  {
    Error_Handler();
  }
  /* USER CODE BEGIN I2S2_Init 2 */
  //swap SDI/SDO pins to match IOC definition and hardware
  SET_BIT(hi2s2.Instance->CFG2, SPI_CFG2_IOSWP);
  /* USER CODE END I2S2_Init 2 */

}

static void MX_I2S3_Init(void)
{

  hi2s3.Instance = SPI3;
  hi2s3.Init.Mode = I2S_MODE_SLAVE_RX;
  hi2s3.Init.Standard = I2S_STANDARD_PHILIPS;
  hi2s3.Init.DataFormat = I2S_DATAFORMAT_32B;
  hi2s3.Init.MCLKOutput = I2S_MCLKOUTPUT_DISABLE;
  hi2s3.Init.AudioFreq = I2S_AUDIOFREQ_96K;
  hi2s3.Init.CPOL = I2S_CPOL_LOW;
  hi2s3.Init.FirstBit = I2S_FIRSTBIT_MSB;
  hi2s3.Init.WSInversion = I2S_WS_INVERSION_DISABLE;
  hi2s3.Init.Data24BitAlignment = I2S_DATA_24BIT_ALIGNMENT_LEFT;
  hi2s3.Init.MasterKeepIOState = I2S_MASTER_KEEP_IO_STATE_DISABLE;
  if (HAL_I2S_Init(&hi2s3) != HAL_OK)
  {
    Error_Handler();
  }
  /* USER CODE BEGIN I2S3_Init 2 */
  //swap SDI/SDO pins to match IOC definition and hardware
  SET_BIT(hi2s3.Instance->CFG2, SPI_CFG2_IOSWP);
  /* USER CODE END I2S3_Init 2 */

}

static void MX_RAMECC_Init(void)
{

  /** Initialize RAMECC1 M1 : AXI SRAM
  */
  hramecc1_m1.Instance = RAMECC1_Monitor1;
  if (HAL_RAMECC_Init(&hramecc1_m1) != HAL_OK)
  {
    Error_Handler();
  }

  /** Initialize RAMECC1 M2 : ITCM-RAM
  */
  hramecc1_m2.Instance = RAMECC1_Monitor2;
  if (HAL_RAMECC_Init(&hramecc1_m2) != HAL_OK)
  {
    Error_Handler();
  }

  /** Initialize RAMECC1 M3 : D0TCM-RAM
  */
  hramecc1_m3.Instance = RAMECC1_Monitor3;
  if (HAL_RAMECC_Init(&hramecc1_m3) != HAL_OK)
  {
    Error_Handler();
  }

  /** Initialize RAMECC1 M4 : D1TCM-RAM
  */
  hramecc1_m4.Instance = RAMECC1_Monitor4;
  if (HAL_RAMECC_Init(&hramecc1_m4) != HAL_OK)
  {
    Error_Handler();
  }

  /** Initialize RAMECC1 M6 : SRAM
  */
  hramecc1_m6.Instance = RAMECC1_Monitor6;
  if (HAL_RAMECC_Init(&hramecc1_m6) != HAL_OK)
  {
    Error_Handler();
  }

  /** Initialize RAMECC2 M1 : SRAM1_0
  */
  hramecc2_m1.Instance = RAMECC2_Monitor1;
  if (HAL_RAMECC_Init(&hramecc2_m1) != HAL_OK)
  {
    Error_Handler();
  }

  /** Initialize RAMECC2 M2 : SRAM2_0
  */
  hramecc2_m2.Instance = RAMECC2_Monitor2;
  if (HAL_RAMECC_Init(&hramecc2_m2) != HAL_OK)
  {
    Error_Handler();
  }

  /** Initialize RAMECC3 M1 : SRAM4
  */
  hramecc3_m1.Instance = RAMECC3_Monitor1;
  if (HAL_RAMECC_Init(&hramecc3_m1) != HAL_OK)
  {
    Error_Handler();
  }

}

static void MX_SAI4_Init(void)
{

  hsai_BlockB4.Instance = SAI4_Block_B;
  hsai_BlockB4.Init.AudioMode = SAI_MODEMASTER_TX;
  hsai_BlockB4.Init.Synchro = SAI_ASYNCHRONOUS;
  hsai_BlockB4.Init.OutputDrive = SAI_OUTPUTDRIVE_ENABLE;
  hsai_BlockB4.Init.NoDivider = SAI_MASTERDIVIDER_ENABLE;
  hsai_BlockB4.Init.FIFOThreshold = SAI_FIFOTHRESHOLD_EMPTY;
  hsai_BlockB4.Init.AudioFrequency = SAI_AUDIO_FREQUENCY_96K;
  hsai_BlockB4.Init.SynchroExt = SAI_SYNCEXT_DISABLE;
  hsai_BlockB4.Init.MonoStereoMode = SAI_STEREOMODE;
  hsai_BlockB4.Init.CompandingMode = SAI_NOCOMPANDING;
  hsai_BlockB4.Init.TriState = SAI_OUTPUT_NOTRELEASED;
  if (HAL_SAI_InitProtocol(&hsai_BlockB4, SAI_I2S_STANDARD, SAI_PROTOCOL_DATASIZE_32BIT, 2) != HAL_OK)
  {
    Error_Handler();
  }

}

static void MX_SPDIFRX1_Init(void)
{

  hspdif1.Instance = SPDIFRX;
  hspdif1.Init.InputSelection = SPDIFRX_INPUT_IN2;
  hspdif1.Init.Retries = SPDIFRX_MAXRETRIES_3;
  hspdif1.Init.WaitForActivity = SPDIFRX_WAITFORACTIVITY_ON;
  hspdif1.Init.ChannelSelection = SPDIFRX_CHANNEL_A;
  hspdif1.Init.DataFormat = SPDIFRX_DATAFORMAT_MSB;
  hspdif1.Init.StereoMode = SPDIFRX_STEREOMODE_ENABLE;
  hspdif1.Init.PreambleTypeMask = SPDIFRX_PREAMBLETYPEMASK_OFF;
  hspdif1.Init.ChannelStatusMask = SPDIFRX_CHANNELSTATUS_OFF;
  hspdif1.Init.ValidityBitMask = SPDIFRX_VALIDITYMASK_OFF;
  hspdif1.Init.ParityErrorMask = SPDIFRX_PARITYERRORMASK_OFF;
  hspdif1.Init.SymbolClockGen = DISABLE;
  hspdif1.Init.BackupSymbolClockGen = DISABLE;
  if (HAL_SPDIFRX_Init(&hspdif1) != HAL_OK)
  {
    Error_Handler();
  }

}

static void MX_TIM2_Init(void)
{

  TIM_ClockConfigTypeDef sClockSourceConfig = {0};
  TIM_MasterConfigTypeDef sMasterConfig = {0};

  htim2.Instance = TIM2;
  htim2.Init.Prescaler = 25;
  htim2.Init.CounterMode = TIM_COUNTERMODE_UP;
  htim2.Init.Period = 4294967295;
  htim2.Init.ClockDivision = TIM_CLOCKDIVISION_DIV1;
  htim2.Init.AutoReloadPreload = TIM_AUTORELOAD_PRELOAD_DISABLE;
  if (HAL_TIM_Base_Init(&htim2) != HAL_OK)
  {
    Error_Handler();
  }
  sClockSourceConfig.ClockSource = TIM_CLOCKSOURCE_INTERNAL;
  if (HAL_TIM_ConfigClockSource(&htim2, &sClockSourceConfig) != HAL_OK)
  {
    Error_Handler();
  }
  sMasterConfig.MasterOutputTrigger = TIM_TRGO_RESET;
  sMasterConfig.MasterSlaveMode = TIM_MASTERSLAVEMODE_DISABLE;
  if (HAL_TIMEx_MasterConfigSynchronization(&htim2, &sMasterConfig) != HAL_OK)
  {
    Error_Handler();
  }

}

static void MX_TIM5_Init(void)
{

  TIM_ClockConfigTypeDef sClockSourceConfig = {0};
  TIM_MasterConfigTypeDef sMasterConfig = {0};

  htim5.Instance = TIM5;
  htim5.Init.Prescaler = 25;
  htim5.Init.CounterMode = TIM_COUNTERMODE_UP;
  htim5.Init.Period = 4294967295;
  htim5.Init.ClockDivision = TIM_CLOCKDIVISION_DIV1;
  htim5.Init.AutoReloadPreload = TIM_AUTORELOAD_PRELOAD_DISABLE;
  if (HAL_TIM_Base_Init(&htim5) != HAL_OK)
  {
    Error_Handler();
  }
  sClockSourceConfig.ClockSource = TIM_CLOCKSOURCE_INTERNAL;
  if (HAL_TIM_ConfigClockSource(&htim5, &sClockSourceConfig) != HAL_OK)
  {
    Error_Handler();
  }
  sMasterConfig.MasterOutputTrigger = TIM_TRGO_RESET;
  sMasterConfig.MasterSlaveMode = TIM_MASTERSLAVEMODE_DISABLE;
  if (HAL_TIMEx_MasterConfigSynchronization(&htim5, &sMasterConfig) != HAL_OK)
  {
    Error_Handler();
  }

}

static void MX_UART4_Init(void)
{

  huart4.Instance = UART4;
  huart4.Init.BaudRate = 115200;
  huart4.Init.WordLength = UART_WORDLENGTH_8B;
  huart4.Init.StopBits = UART_STOPBITS_1;
  huart4.Init.Parity = UART_PARITY_NONE;
  huart4.Init.Mode = UART_MODE_TX_RX;
  huart4.Init.HwFlowCtl = UART_HWCONTROL_NONE;
  huart4.Init.OverSampling = UART_OVERSAMPLING_16;
  huart4.Init.OneBitSampling = UART_ONE_BIT_SAMPLE_DISABLE;
  huart4.Init.ClockPrescaler = UART_PRESCALER_DIV1;
  huart4.AdvancedInit.AdvFeatureInit = UART_ADVFEATURE_NO_INIT;
  if (HAL_UART_Init(&huart4) != HAL_OK)
  {
    Error_Handler();
  }
  if (HAL_UARTEx_SetTxFifoThreshold(&huart4, UART_TXFIFO_THRESHOLD_1_8) != HAL_OK)
  {
    Error_Handler();
  }
  if (HAL_UARTEx_SetRxFifoThreshold(&huart4, UART_RXFIFO_THRESHOLD_1_8) != HAL_OK)
  {
    Error_Handler();
  }
  if (HAL_UARTEx_DisableFifoMode(&huart4) != HAL_OK)
  {
    Error_Handler();
  }

}

static void MX_WWDG1_Init(void)
{

  hwwdg1.Instance = WWDG1;
  hwwdg1.Init.Prescaler = WWDG_PRESCALER_128;
  hwwdg1.Init.Window = 127;
  hwwdg1.Init.Counter = 127;
  hwwdg1.Init.EWIMode = WWDG_EWI_DISABLE;
  if (HAL_WWDG_Init(&hwwdg1) != HAL_OK)
  {
    Error_Handler();
  }

}

static void MX_BDMA_Init(void)
{

  /* DMA controller clock enable */
  __HAL_RCC_BDMA_CLK_ENABLE();

  /* DMA interrupt init */
  /* BDMA_Channel0_IRQn interrupt configuration */
  HAL_NVIC_SetPriority(BDMA_Channel0_IRQn, 2, 0);
  HAL_NVIC_EnableIRQ(BDMA_Channel0_IRQn);

}

static void MX_DMA_Init(void)
{

  /* DMA controller clock enable */
  __HAL_RCC_DMA1_CLK_ENABLE();

  /* DMA interrupt init */
  /* DMA1_Stream0_IRQn interrupt configuration */
  HAL_NVIC_SetPriority(DMA1_Stream0_IRQn, 4, 0);
  HAL_NVIC_EnableIRQ(DMA1_Stream0_IRQn);
  /* DMA1_Stream1_IRQn interrupt configuration */
  HAL_NVIC_SetPriority(DMA1_Stream1_IRQn, 4, 0);
  HAL_NVIC_EnableIRQ(DMA1_Stream1_IRQn);
  /* DMA1_Stream2_IRQn interrupt configuration */
  HAL_NVIC_SetPriority(DMA1_Stream2_IRQn, 4, 0);
  HAL_NVIC_EnableIRQ(DMA1_Stream2_IRQn);
  /* DMA1_Stream3_IRQn interrupt configuration */
  HAL_NVIC_SetPriority(DMA1_Stream3_IRQn, 4, 0);
  HAL_NVIC_EnableIRQ(DMA1_Stream3_IRQn);
  /* DMA1_Stream4_IRQn interrupt configuration */
  HAL_NVIC_SetPriority(DMA1_Stream4_IRQn, 4, 0);
  HAL_NVIC_EnableIRQ(DMA1_Stream4_IRQn);

}

/**
  * Enable MDMA controller clock
  * Configure MDMA for global transfers
  *   hmdma_mdma_channel0_sw_0
  */
static void MX_MDMA_Init(void)
{

  /* MDMA controller clock enable */
  __HAL_RCC_MDMA_CLK_ENABLE();
  /* Local variables */

  /* Configure MDMA channel MDMA_Channel0 */
  /* Configure MDMA request hmdma_mdma_channel0_sw_0 on MDMA_Channel0 */
  hmdma_mdma_channel0_sw_0.Instance = MDMA_Channel0;
  hmdma_mdma_channel0_sw_0.Init.Request = MDMA_REQUEST_SW;
  hmdma_mdma_channel0_sw_0.Init.TransferTriggerMode = MDMA_BLOCK_TRANSFER;
  hmdma_mdma_channel0_sw_0.Init.Priority = MDMA_PRIORITY_LOW;
  hmdma_mdma_channel0_sw_0.Init.Endianness = MDMA_LITTLE_ENDIANNESS_PRESERVE;
  hmdma_mdma_channel0_sw_0.Init.SourceInc = MDMA_SRC_INC_WORD;
  hmdma_mdma_channel0_sw_0.Init.DestinationInc = MDMA_DEST_INC_WORD;
  hmdma_mdma_channel0_sw_0.Init.SourceDataSize = MDMA_SRC_DATASIZE_WORD;
  hmdma_mdma_channel0_sw_0.Init.DestDataSize = MDMA_DEST_DATASIZE_WORD;
  hmdma_mdma_channel0_sw_0.Init.DataAlignment = MDMA_DATAALIGN_PACKENABLE;
  hmdma_mdma_channel0_sw_0.Init.BufferTransferLength = 4;
  hmdma_mdma_channel0_sw_0.Init.SourceBurst = MDMA_SOURCE_BURST_SINGLE;
  hmdma_mdma_channel0_sw_0.Init.DestBurst = MDMA_DEST_BURST_SINGLE;
  hmdma_mdma_channel0_sw_0.Init.SourceBlockAddressOffset = 0;
  hmdma_mdma_channel0_sw_0.Init.DestBlockAddressOffset = 0;
  if (HAL_MDMA_Init(&hmdma_mdma_channel0_sw_0) != HAL_OK)
  {
    Error_Handler();
  }

  /* MDMA interrupt initialization */
  /* MDMA_IRQn interrupt configuration */
  HAL_NVIC_SetPriority(MDMA_IRQn, 3, 0);
  HAL_NVIC_EnableIRQ(MDMA_IRQn);

}

static void MX_GPIO_Init(void)
{
  GPIO_InitTypeDef GPIO_InitStruct = {0};

  /* GPIO Ports Clock Enable */
  __HAL_RCC_GPIOC_CLK_ENABLE();
  __HAL_RCC_GPIOA_CLK_ENABLE();
  __HAL_RCC_GPIOB_CLK_ENABLE();

  /*Configure GPIO pin Output Level */
  HAL_GPIO_WritePin(I2C_INT_N_GPIO_Port, I2C_INT_N_Pin, GPIO_PIN_SET);

  /*Configure GPIO pin : PC9 */
  GPIO_InitStruct.Pin = GPIO_PIN_9;
  GPIO_InitStruct.Mode = GPIO_MODE_AF_PP;
  GPIO_InitStruct.Pull = GPIO_NOPULL;
  GPIO_InitStruct.Speed = GPIO_SPEED_FREQ_LOW;
  GPIO_InitStruct.Alternate = GPIO_AF5_SPI1;
  HAL_GPIO_Init(GPIOC, &GPIO_InitStruct);

  /*Configure GPIO pin : I2C_INT_N_Pin */
  GPIO_InitStruct.Pin = I2C_INT_N_Pin;
  GPIO_InitStruct.Mode = GPIO_MODE_OUTPUT_OD;
  GPIO_InitStruct.Pull = GPIO_NOPULL;
  GPIO_InitStruct.Speed = GPIO_SPEED_FREQ_LOW;
  HAL_GPIO_Init(I2C_INT_N_GPIO_Port, &GPIO_InitStruct);

}

/* MPU Configuration */

void MPU_Config(void)
{
  MPU_Region_InitTypeDef MPU_InitStruct = {0};

  /* Disables the MPU */
  HAL_MPU_Disable();

  /** Initializes and configures the Region and the memory to be protected
  */
  MPU_InitStruct.Enable = MPU_REGION_ENABLE;
  MPU_InitStruct.Number = MPU_REGION_NUMBER0;
  MPU_InitStruct.BaseAddress = 0x0;
  MPU_InitStruct.Size = MPU_REGION_SIZE_4GB;
  MPU_InitStruct.SubRegionDisable = 0x0;
  MPU_InitStruct.TypeExtField = MPU_TEX_LEVEL1;
  MPU_InitStruct.AccessPermission = MPU_REGION_FULL_ACCESS;
  MPU_InitStruct.DisableExec = MPU_INSTRUCTION_ACCESS_ENABLE;
  MPU_InitStruct.IsShareable = MPU_ACCESS_NOT_SHAREABLE;
  MPU_InitStruct.IsCacheable = MPU_ACCESS_NOT_CACHEABLE;
  MPU_InitStruct.IsBufferable = MPU_ACCESS_NOT_BUFFERABLE;

  HAL_MPU_ConfigRegion(&MPU_InitStruct);

  /** Initializes and configures the Region and the memory to be protected
  */
  MPU_InitStruct.Number = MPU_REGION_NUMBER1;
  MPU_InitStruct.Size = MPU_REGION_SIZE_512MB;
  MPU_InitStruct.TypeExtField = MPU_TEX_LEVEL0;
  MPU_InitStruct.IsCacheable = MPU_ACCESS_CACHEABLE;

  HAL_MPU_ConfigRegion(&MPU_InitStruct);

  /** Initializes and configures the Region and the memory to be protected
  */
  MPU_InitStruct.Number = MPU_REGION_NUMBER2;
  MPU_InitStruct.Size = MPU_REGION_SIZE_64KB;
  MPU_InitStruct.AccessPermission = MPU_REGION_PRIV_RO_URO;

  HAL_MPU_ConfigRegion(&MPU_InitStruct);

  /** Initializes and configures the Region and the memory to be protected
  */
  MPU_InitStruct.Number = MPU_REGION_NUMBER3;
  MPU_InitStruct.Size = MPU_REGION_SIZE_4KB;
  MPU_InitStruct.AccessPermission = MPU_REGION_NO_ACCESS;
  MPU_InitStruct.DisableExec = MPU_INSTRUCTION_ACCESS_DISABLE;
  MPU_InitStruct.IsCacheable = MPU_ACCESS_NOT_CACHEABLE;

  HAL_MPU_ConfigRegion(&MPU_InitStruct);

  /** Initializes and configures the Region and the memory to be protected
  */
  MPU_InitStruct.Number = MPU_REGION_NUMBER4;
  MPU_InitStruct.BaseAddress = 0x40000000;
  MPU_InitStruct.Size = MPU_REGION_SIZE_512MB;
  MPU_InitStruct.TypeExtField = MPU_TEX_LEVEL2;
  MPU_InitStruct.AccessPermission = MPU_REGION_FULL_ACCESS;

  HAL_MPU_ConfigRegion(&MPU_InitStruct);
  /* Enables the MPU */
  HAL_MPU_Enable(MPU_PRIVILEGED_DEFAULT);

}

void Error_Handler(void)
{
  __disable_irq();
  while (1)
  {
  }
}
